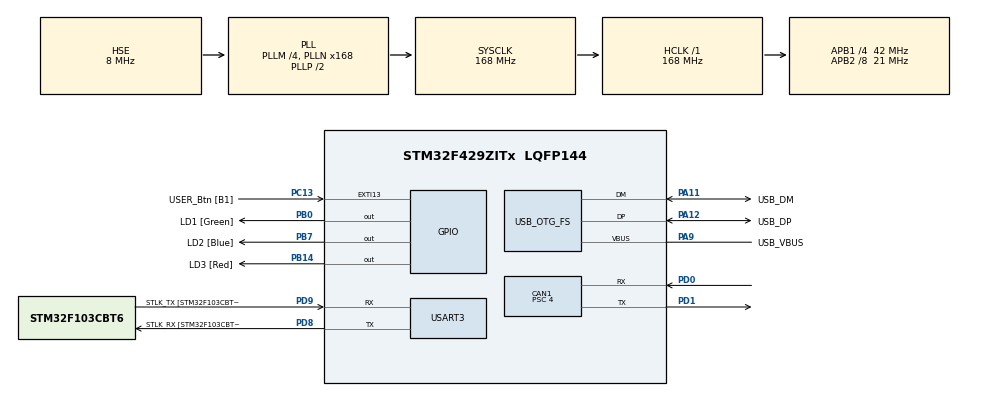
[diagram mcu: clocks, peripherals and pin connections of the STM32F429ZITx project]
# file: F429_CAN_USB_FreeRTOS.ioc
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CAN1.ABOM=ENABLE
CAN1.BS1=CAN_BS1_15TQ
CAN1.BS2=CAN_BS2_5TQ
CAN1.CalculateBaudRate=500000
CAN1.CalculateTimeBit=2000
CAN1.CalculateTimeQuantum=95.23809523809524
CAN1.Mode=CAN_MODE_NORMAL
CAN1.NART=DISABLE
CAN1.Prescaler=4
CAN1.TXFP=DISABLE
FREERTOS.Tasks01=defaultTask,0,128,StartDefaultTask,Default,NULL,Dynamic,NULL,NULL;usbCdc,0,256,usbCdcTask,Default,NULL,Dynamic,NULL,NULL;canTx,0,256,canTxTask,Default,NULL,Dynamic,NULL,NULL
FREERTOS.configUSE_NEWLIB_REENTRANT=1
Mcu.Family=STM32F4
Mcu.Name=STM32F429ZITx
Mcu.Package=LQFP144
NVIC.CAN1_RX0_IRQn=true\:5\:0\:false\:false\:true\:true\:true\:true
NVIC.CAN1_RX1_IRQn=true\:5\:0\:false\:false\:true\:true\:true\:true
NVIC.CAN1_SCE_IRQn=true\:5\:0\:false\:false\:true\:true\:true\:true
NVIC.CAN1_TX_IRQn=true\:5\:0\:false\:false\:true\:true\:true\:true
NVIC.OTG_FS_IRQn=true\:5\:0\:false\:false\:true\:true\:true\:true
NVIC.PriorityGroup=NVIC_PRIORITYGROUP_4
NVIC.TIM6_DAC_IRQn=true\:15\:0\:false\:false\:true\:false\:false\:true
NVIC.TimeBase=TIM6_DAC_IRQn
NVIC.TimeBaseIP=TIM6
PA11.GPIO_Label=USB_DM
PA11.Mode=Device_Only
PA11.Signal=USB_OTG_FS_DM
PA12.GPIO_Label=USB_DP
PA12.Mode=Device_Only
PA12.Signal=USB_OTG_FS_DP
PA13.GPIO_Label=TMS
PA13.Mode=Trace_Asynchronous_SW
PA13.Signal=SYS_JTMS-SWDIO
PA14.GPIO_Label=TCK
PA14.Mode=Trace_Asynchronous_SW
PA14.Signal=SYS_JTCK-SWCLK
PA9.GPIO_Label=USB_VBUS
PA9.Mode=Activate_VBUS
PA9.Signal=USB_OTG_FS_VBUS
PB0.GPIO_Label=LD1 [Green]
PB0.Signal=GPIO_Output
PB14.GPIO_Label=LD3 [Red]
PB14.Signal=GPIO_Output
PB3.Mode=Trace_Asynchronous_SW
PB3.Signal=SYS_JTDO-SWO
PB7.GPIO_Label=LD2 [Blue]
PB7.Signal=GPIO_Output
PC13.GPIO_Label=USER_Btn [B1]
PC13.Signal=GPXTI13
PC14/OSC32_IN.Mode=LSE-External-Oscillator
PC14/OSC32_IN.Signal=RCC_OSC32_IN
PC15/OSC32_OUT.Mode=LSE-External-Oscillator
PC15/OSC32_OUT.Signal=RCC_OSC32_OUT
PD0.Mode=CAN_Activate
PD0.Signal=CAN1_RX
PD1.Mode=CAN_Activate
PD1.Signal=CAN1_TX
PD8.GPIO_Label=STLK_RX [STM32F103CBT6_PA3]
PD8.Mode=Asynchronous
PD8.Signal=USART3_TX
PD9.GPIO_Label=STLK_TX [STM32F103CBT6_PA2]
PD9.Mode=Asynchronous
PD9.Signal=USART3_RX
PH0/OSC_IN.GPIO_Label=MCO [STM32F103CBT6_PA8]
PH0/OSC_IN.Mode=HSE-External-Clock-Source
PH0/OSC_IN.Signal=RCC_OSC_IN
PH1/OSC_OUT.Mode=HSE-External-Clock-Source
PH1/OSC_OUT.Signal=RCC_OSC_OUT
ProjectManager.HeapSize=0x2000
ProjectManager.StackSize=0x4000
ProjectManager.TargetToolchain=STM32CubeIDE
RCC.48MHZClocksFreq_Value=48000000
RCC.AHBFreq_Value=168000000
RCC.APB1CLKDivider=RCC_HCLK_DIV4
RCC.APB1Freq_Value=42000000
RCC.APB1TimFreq_Value=84000000
RCC.APB2CLKDivider=RCC_HCLK_DIV8
RCC.APB2Freq_Value=21000000
RCC.APB2TimFreq_Value=42000000
RCC.CortexFreq_Value=168000000
RCC.HCLKFreq_Value=168000000
RCC.HSE_VALUE=8000000
RCC.HSI_VALUE=16000000
RCC.PLLM=4
RCC.PLLMUL=RCC_PLL_MUL9
RCC.PLLN=168
RCC.PLLQ=7
RCC.PRESCALERUSB=RCC_USBCLKSOURCE_PLL_DIV1_5
RCC.SYSCLKFreq_VALUE=168000000
RCC.SYSCLKSource=RCC_SYSCLKSOURCE_PLLCLK
RCC.SYSCLKSourceVirtual=RCC_SYSCLKSOURCE_PLLCLK
RCC.USBFreq_Value=48000000
RCC.VCOOutputFreq_Value=336000000
TIM1.Period=59999
TIM1.Prescaler=41999
USART3.VirtualMode=VM_ASYNC
USB_DEVICE.CLASS_NAME_FS=CDC
USB_DEVICE.VirtualMode-CDC_FS=Cdc
USB_DEVICE.VirtualModeFS=Cdc_FS
USB_OTG_FS.VirtualMode=Device_Only
VP_FREERTOS_VS_CMSIS_V1.Mode=CMSIS_V1
VP_SYS_VS_tim6.Mode=TIM6
VP_TIM1_VS_ClockSourceINT.Mode=Internal
VP_USB_DEVICE_VS_USB_DEVICE_CDC_FS.Mode=CDC_FS
board=NUCLEO-F429ZI

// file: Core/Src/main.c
/* USER CODE BEGIN Header */
/**
  ******************************************************************************
  * @file           : main.c
  * @brief          : Main program body
  ******************************************************************************
  * @attention
  *
  * Copyright (c) 2021 STMicroelectronics.
  * All rights reserved.
  *
  * This software is licensed under terms that can be found in the LICENSE file
  * in the root directory of this software component.
  * If no LICENSE file comes with this software, it is provided AS-IS.
  *
  ******************************************************************************
  */
/* USER CODE END Header */
#include "main.h"
#include "cmsis_os.h"
#include "usb_device.h"

/* USER CODE BEGIN Includes */
#include "usbd_cdc_if.h"
#include "string.h"
#include "stdio.h"
/* USER CODE END Includes */

/* USER CODE BEGIN PD */

#define MAIL_SIZE 32
/* USER CODE END PD */

CAN_HandleTypeDef hcan1;

TIM_HandleTypeDef htim1;

UART_HandleTypeDef huart3;

osThreadId defaultTaskHandle;
osThreadId usbCdcHandle;
osThreadId canTxHandle;
/* USER CODE BEGIN PV */

CAN_TxHeaderTypeDef   TxHeader;
CAN_RxHeaderTypeDef   RxHeader;
uint8_t               TxData[8];
uint8_t               RxData[8];
uint32_t              TxMailbox;
canRxMessage canRxMsg;

osMailQId canRxQueueHandle;
osMailQId canTxQueueHandle;
uint8_t interfaceState = 1;

extern USBD_HandleTypeDef hUsbDeviceFS;
/* USER CODE END PV */

void SystemClock_Config(void);
static void MX_GPIO_Init(void);
static void MX_USART3_UART_Init(void);
static void MX_CAN1_Init(void);
static void MX_TIM1_Init(void);
void StartDefaultTask(void const * argument);
void usbCdcTask(void const * argument);
void canTxTask(void const * argument);

int main(void)
{

  /* MCU Configuration--------------------------------------------------------*/

  /* Reset of all peripherals, Initializes the Flash interface and the Systick. */
  HAL_Init();

  /* Configure the system clock */
  SystemClock_Config();

  /* Initialize all configured peripherals */
  MX_GPIO_Init();
  MX_USART3_UART_Init();
  MX_CAN1_Init();
  MX_TIM1_Init();
  /* USER CODE BEGIN 2 */
  CAN_FilterTypeDef  sFilterConfig;

  sFilterConfig.FilterBank = 0;
  sFilterConfig.FilterMode = CAN_FILTERMODE_IDMASK;
  sFilterConfig.FilterScale = CAN_FILTERSCALE_32BIT;
  sFilterConfig.FilterIdHigh = 0x0000;
  sFilterConfig.FilterIdLow = 0x0000;
  sFilterConfig.FilterMaskIdHigh = 0x0000;
  sFilterConfig.FilterMaskIdLow = 0x0000;
  sFilterConfig.FilterFIFOAssignment = CAN_RX_FIFO0;
  sFilterConfig.FilterActivation = ENABLE;
  sFilterConfig.SlaveStartFilterBank = 14;

  if (HAL_CAN_ConfigFilter(&hcan1, &sFilterConfig) != HAL_OK){
	  Error_Handler();
  }

  HAL_CAN_Start(&hcan1);
  HAL_CAN_ActivateNotification(&hcan1, CAN_IT_RX_FIFO0_MSG_PENDING| CAN_IT_TX_MAILBOX_EMPTY | CAN_IT_ERROR | CAN_IT_BUSOFF | CAN_IT_LAST_ERROR_CODE);

  HAL_TIM_Base_Start(&htim1);

  /* USER CODE END 2 */

  /* USER CODE BEGIN RTOS_QUEUES */
	osMailQDef(canRxQ, MAIL_SIZE, canRxMessage);
	canRxQueueHandle = osMailCreate(osMailQ(canRxQ), NULL);
	osMailQDef(canTxQ, MAIL_SIZE, canRxMessage);
	canRxQueueHandle = osMailCreate(osMailQ(canTxQ), NULL);
  /* add queues, ... */
  /* USER CODE END RTOS_QUEUES */

  /* Create the thread(s) */
  /* definition and creation of defaultTask */
  osThreadDef(defaultTask, StartDefaultTask, osPriorityNormal, 0, 128);
  defaultTaskHandle = osThreadCreate(osThread(defaultTask), NULL);

  /* definition and creation of usbCdc */
  osThreadDef(usbCdc, usbCdcTask, osPriorityNormal, 0, 256);
  usbCdcHandle = osThreadCreate(osThread(usbCdc), NULL);

  /* definition and creation of canTx */
  osThreadDef(canTx, canTxTask, osPriorityNormal, 0, 256);
  canTxHandle = osThreadCreate(osThread(canTx), NULL);

  /* Start scheduler */
  osKernelStart();

  /* We should never get here as control is now taken by the scheduler */
  /* Infinite loop */
  while (1)
  {

  }
}

void SystemClock_Config(void)
{
  RCC_OscInitTypeDef RCC_OscInitStruct = {0};
  RCC_ClkInitTypeDef RCC_ClkInitStruct = {0};

  /** Configure the main internal regulator output voltage
  */
  __HAL_RCC_PWR_CLK_ENABLE();
  __HAL_PWR_VOLTAGESCALING_CONFIG(PWR_REGULATOR_VOLTAGE_SCALE1);
  /** Initializes the RCC Oscillators according to the specified parameters
  * in the RCC_OscInitTypeDef structure.
  */
  RCC_OscInitStruct.OscillatorType = RCC_OSCILLATORTYPE_HSE;
  RCC_OscInitStruct.HSEState = RCC_HSE_BYPASS;
  RCC_OscInitStruct.PLL.PLLState = RCC_PLL_ON;
  RCC_OscInitStruct.PLL.PLLSource = RCC_PLLSOURCE_HSE;
  RCC_OscInitStruct.PLL.PLLM = 4;
  RCC_OscInitStruct.PLL.PLLN = 168;
  RCC_OscInitStruct.PLL.PLLP = RCC_PLLP_DIV2;
  RCC_OscInitStruct.PLL.PLLQ = 7;
  if (HAL_RCC_OscConfig(&RCC_OscInitStruct) != HAL_OK)
  {
    Error_Handler();
  }
  /** Initializes the CPU, AHB and APB buses clocks
  */
  RCC_ClkInitStruct.ClockType = RCC_CLOCKTYPE_HCLK|RCC_CLOCKTYPE_SYSCLK
                              |RCC_CLOCKTYPE_PCLK1|RCC_CLOCKTYPE_PCLK2;
  RCC_ClkInitStruct.SYSCLKSource = RCC_SYSCLKSOURCE_PLLCLK;
  RCC_ClkInitStruct.AHBCLKDivider = RCC_SYSCLK_DIV1;
  RCC_ClkInitStruct.APB1CLKDivider = RCC_HCLK_DIV4;
  RCC_ClkInitStruct.APB2CLKDivider = RCC_HCLK_DIV8;

  if (HAL_RCC_ClockConfig(&RCC_ClkInitStruct, FLASH_LATENCY_5) != HAL_OK)
  {
    Error_Handler();
  }
}

static void MX_CAN1_Init(void)
{

  hcan1.Instance = CAN1;
  hcan1.Init.Prescaler = 4;
  hcan1.Init.Mode = CAN_MODE_NORMAL;
  hcan1.Init.SyncJumpWidth = CAN_SJW_1TQ;
  hcan1.Init.TimeSeg1 = CAN_BS1_15TQ;
  hcan1.Init.TimeSeg2 = CAN_BS2_5TQ;
  hcan1.Init.TimeTriggeredMode = DISABLE;
  hcan1.Init.AutoBusOff = ENABLE;
  hcan1.Init.AutoWakeUp = DISABLE;
  hcan1.Init.AutoRetransmission = DISABLE;
  hcan1.Init.ReceiveFifoLocked = DISABLE;
  hcan1.Init.TransmitFifoPriority = DISABLE;
  if (HAL_CAN_Init(&hcan1) != HAL_OK)
  {
    Error_Handler();
  }

}

static void MX_TIM1_Init(void)
{

  TIM_ClockConfigTypeDef sClockSourceConfig = {0};
  TIM_MasterConfigTypeDef sMasterConfig = {0};

  htim1.Instance = TIM1;
  htim1.Init.Prescaler = 41999;
  htim1.Init.CounterMode = TIM_COUNTERMODE_UP;
  htim1.Init.Period = 59999;
  htim1.Init.ClockDivision = TIM_CLOCKDIVISION_DIV1;
  htim1.Init.RepetitionCounter = 0;
  htim1.Init.AutoReloadPreload = TIM_AUTORELOAD_PRELOAD_DISABLE;
  if (HAL_TIM_Base_Init(&htim1) != HAL_OK)
  {
    Error_Handler();
  }
  sClockSourceConfig.ClockSource = TIM_CLOCKSOURCE_INTERNAL;
  if (HAL_TIM_ConfigClockSource(&htim1, &sClockSourceConfig) != HAL_OK)
  {
    Error_Handler();
  }
  sMasterConfig.MasterOutputTrigger = TIM_TRGO_RESET;
  sMasterConfig.MasterSlaveMode = TIM_MASTERSLAVEMODE_DISABLE;
  if (HAL_TIMEx_MasterConfigSynchronization(&htim1, &sMasterConfig) != HAL_OK)
  {
    Error_Handler();
  }

}

static void MX_USART3_UART_Init(void)
{

  huart3.Instance = USART3;
  huart3.Init.BaudRate = 115200;
  huart3.Init.WordLength = UART_WORDLENGTH_8B;
  huart3.Init.StopBits = UART_STOPBITS_1;
  huart3.Init.Parity = UART_PARITY_NONE;
  huart3.Init.Mode = UART_MODE_TX_RX;
  huart3.Init.HwFlowCtl = UART_HWCONTROL_NONE;
  huart3.Init.OverSampling = UART_OVERSAMPLING_16;
  if (HAL_UART_Init(&huart3) != HAL_OK)
  {
    Error_Handler();
  }

}

static void MX_GPIO_Init(void)
{
  GPIO_InitTypeDef GPIO_InitStruct = {0};

  /* GPIO Ports Clock Enable */
  __HAL_RCC_GPIOC_CLK_ENABLE();
  __HAL_RCC_GPIOH_CLK_ENABLE();
  __HAL_RCC_GPIOB_CLK_ENABLE();
  __HAL_RCC_GPIOD_CLK_ENABLE();
  __HAL_RCC_GPIOA_CLK_ENABLE();

  /*Configure GPIO pin Output Level */
  HAL_GPIO_WritePin(GPIOB, LD1_Pin|LD3_Pin|LD2_Pin, GPIO_PIN_RESET);

  /*Configure GPIO pin : USER_Btn_Pin */
  GPIO_InitStruct.Pin = USER_Btn_Pin;
  GPIO_InitStruct.Mode = GPIO_MODE_IT_RISING;
  GPIO_InitStruct.Pull = GPIO_NOPULL;
  HAL_GPIO_Init(USER_Btn_GPIO_Port, &GPIO_InitStruct);

  /*Configure GPIO pins : LD1_Pin LD3_Pin LD2_Pin */
  GPIO_InitStruct.Pin = LD1_Pin|LD3_Pin|LD2_Pin;
  GPIO_InitStruct.Mode = GPIO_MODE_OUTPUT_PP;
  GPIO_InitStruct.Pull = GPIO_NOPULL;
  GPIO_InitStruct.Speed = GPIO_SPEED_FREQ_LOW;
  HAL_GPIO_Init(GPIOB, &GPIO_InitStruct);

}

/* USER CODE BEGIN 4 */

uint8_t halfbyte_to_hexascii(uint8_t _halfbyte) {
	_halfbyte &= 0x0F;
	if (_halfbyte >= 10)
		return ('A' + _halfbyte - 10);
	else
		return ('0' + _halfbyte);
}

uint8_t hexascii_to_halfbyte(uint8_t _ascii) {
	if ((_ascii >= '0') && (_ascii <= '9'))
		return (_ascii - '0');
	if ((_ascii >= 'a') && (_ascii <= 'f'))
		return (_ascii - 'a' + 0x0a);
	if ((_ascii >= 'A') && (_ascii <= 'F'))
		return (_ascii - 'A' + 0x0a);
	return (0xFF);
}

void HAL_CAN_RxFifo0MsgPendingCallback(CAN_HandleTypeDef *hcan) {

	canRxMessage *canMessage;
	HAL_GPIO_TogglePin(LD3_GPIO_Port, LD3_Pin);
	canMessage = osMailAlloc(canRxQueueHandle, 0);

	if (HAL_CAN_GetRxMessage(hcan, CAN_RX_FIFO0, &RxHeader, RxData) != HAL_OK) {
		Error_Handler();
	} else {
		canMessage->header = &RxHeader;
		canMessage->data = RxData;
		osMailPut(canRxQueueHandle, canMessage);
	}
}

void HAL_CAN_ErrorCallback(CAN_HandleTypeDef *hcan)
{
	uint32_t error;

	error = HAL_CAN_GetError(hcan);
	printf("Error # %8lX detected\r\n", error);
	HAL_CAN_ResetError(hcan);
}

int _write(int file, char *ptr, int len)
{
	int DataIdx;

	for (DataIdx = 0; DataIdx < len; DataIdx++)
	{
		ITM_SendChar(*ptr++);
	}
	return len;
}

void HAL_CAN_TxMailbox0CompleteCallback(CAN_HandleTypeDef *hcan)
{
	HAL_GPIO_TogglePin(LD1_GPIO_Port, LD1_Pin);
	puts("Mailbox 0 TX complete\r\n");
}

void HAL_CAN_TxMailbox1CompleteCallback(CAN_HandleTypeDef *hcan)
{
	HAL_GPIO_TogglePin(LD1_GPIO_Port, LD1_Pin);
	puts("Mailbox 1 TX complete\r\n");
}

void HAL_CAN_TxMailbox2CompleteCallback(CAN_HandleTypeDef *hcan)
{
	HAL_GPIO_TogglePin(LD1_GPIO_Port, LD1_Pin);
	puts("Mailbox 2 TX complete\r\n");

}

/* USER CODE END 4 */

void StartDefaultTask(void const * argument)
{
  /* init code for USB_DEVICE */
  MX_USB_DEVICE_Init();
  for(;;)
  {
    osDelay(1);
  }
}

void usbCdcTask(void const * argument)
{
  /* USER CODE BEGIN usbCdcTask */
	osEvent event;
	canRxMessage *canMessage;
	uint32_t numBytes = 0;
	uint8_t buf[300];
	static uint32_t time;

  /* Infinite loop */
  for(;;)
  {
	event = osMailGet(canRxQueueHandle, osWaitForever);
		if (event.status == osEventMail){
			canMessage = event.value.p;
			numBytes = 0;
			time = __HAL_TIM_GET_COUNTER(&htim1);
			buf[numBytes++] = 't' ;
			buf[numBytes++] = halfbyte_to_hexascii((canMessage->header->StdId)>>8);
			buf[numBytes++] = halfbyte_to_hexascii((canMessage->header->StdId)>>4);
			buf[numBytes++] = halfbyte_to_hexascii((canMessage->header->StdId));
			buf[numBytes++] = halfbyte_to_hexascii((canMessage->header->DLC));
			buf[numBytes++] = halfbyte_to_hexascii((canMessage->data[0])>>4);
			buf[numBytes++] = halfbyte_to_hexascii((canMessage->data[0]));
			buf[numBytes++] = halfbyte_to_hexascii((canMessage->data[1])>>4);
			buf[numBytes++] = halfbyte_to_hexascii((canMessage->data[1]));
			buf[numBytes++] = halfbyte_to_hexascii((canMessage->data[2])>>4);
			buf[numBytes++] = halfbyte_to_hexascii((canMessage->data[2]));
			buf[numBytes++] = halfbyte_to_hexascii((canMessage->data[3])>>4);
			buf[numBytes++] = halfbyte_to_hexascii((canMessage->data[3]));
			buf[numBytes++] = halfbyte_to_hexascii((canMessage->data[4])>>4);
			buf[numBytes++] = halfbyte_to_hexascii((canMessage->data[4]));
			buf[numBytes++] = halfbyte_to_hexascii((canMessage->data[5])>>4);
			buf[numBytes++] = halfbyte_to_hexascii((canMessage->data[5]));
			buf[numBytes++] = halfbyte_to_hexascii((canMessage->data[6])>>4);
			buf[numBytes++] = halfbyte_to_hexascii((canMessage->data[6]));
			buf[numBytes++] = halfbyte_to_hexascii((canMessage->data[7])>>4);
			buf[numBytes++] = halfbyte_to_hexascii((canMessage->data[7]));
			buf[numBytes++] = halfbyte_to_hexascii((time)>>12);
			buf[numBytes++] = halfbyte_to_hexascii((time)>>8);
			buf[numBytes++] = halfbyte_to_hexascii((time)>>4);
			buf[numBytes++] = halfbyte_to_hexascii((time)>>0);
			buf[numBytes++] = '\r';

			if (interfaceState){
				USBD_CDC_SetTxBuffer(&hUsbDeviceFS, (uint8_t*) &buf[0], numBytes);
				USBD_CDC_TransmitPacket(&hUsbDeviceFS);
			}
			osMailFree(canRxQueueHandle, canMessage);
			osThreadYield();
		}

  }
  /* USER CODE END usbCdcTask */
}

void canTxTask(void const * argument)
{
  for(;;)
  {
	  osDelay(1);
  }
}

void HAL_TIM_PeriodElapsedCallback(TIM_HandleTypeDef *htim)
{
  if (htim->Instance == TIM6) {
    HAL_IncTick();
  }
}

void Error_Handler(void)
{
  __disable_irq();
  while (1)
  {
  }
}
